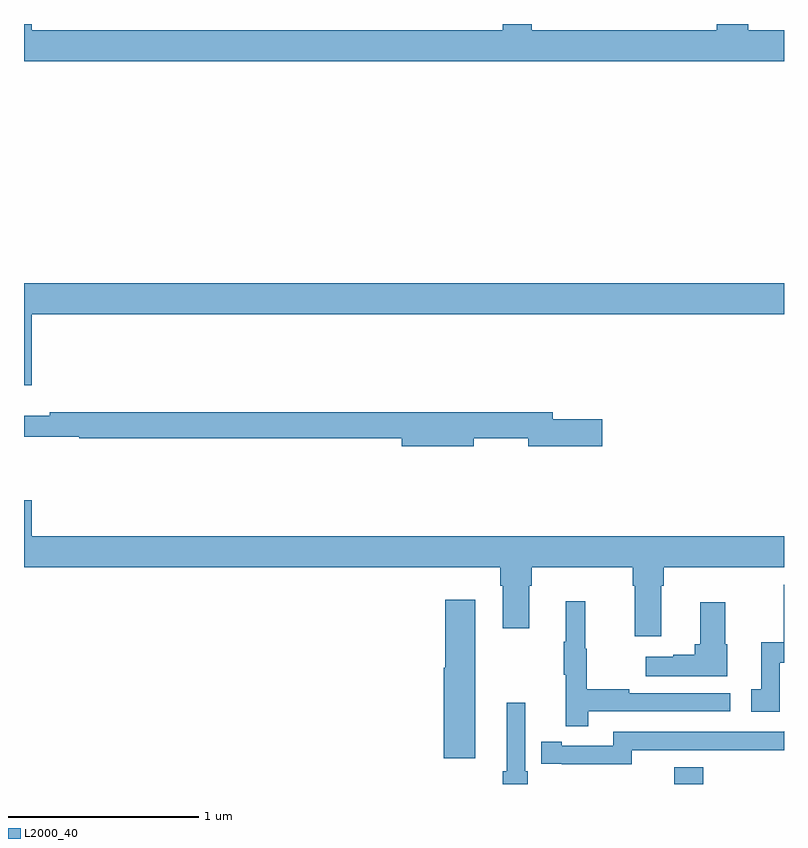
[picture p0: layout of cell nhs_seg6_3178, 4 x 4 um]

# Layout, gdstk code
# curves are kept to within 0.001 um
import gdstk
lib = gdstk.Library(unit=1e-6, precision=1e-09)
def R(c, l, rs):  # rectangles x0, y0, x1, y1
    for r in rs: c.add(gdstk.rectangle(r[:2], r[2:], *l))
def P(c, l, *ps):  # polygons
    for p in ps: c.add(gdstk.Polygon(p, *l))
L2000_40 = (2000, 40)

nhs_seg6_3178 = lib.new_cell('nhs_seg6_3178')
R(nhs_seg6_3178, L2000_40, [(300.422,975.5,300.575,975.589)])
P(nhs_seg6_3178, L2000_40, [(301,979.468),(300.812,979.468),(300.812,979.5),(300.647,979.5),(300.647,979.468),(299.672,979.468),(299.672,979.5),(299.519,979.5),(299.519,979.468),(297.04,979.468),(297.04,979.5),(297,979.5),(297,979.304),(301,979.304)],
  [(297.04,977.972),(301,977.972),(301,978.136),(297,978.136),(297,977.598),(297.04,977.598)],
  [(299.368,977.32),(299.654,977.32),(299.654,977.278),(300.043,977.278),(300.043,977.42),(299.782,977.42),(299.782,977.456),(297.136,977.456),(297.136,977.437),(297,977.437),(297,977.328),(297.292,977.328),(297.292,977.32),(298.988,977.32),(298.988,977.278),(299.368,977.278)],
  [(300.355,976.544),(300.368,976.544),(300.368,976.64),(301,976.64),(301,976.804),(297.04,976.804),(297.04,976.993),(297,976.993),(297,976.64),(299.507,976.64),(299.507,976.544),(299.519,976.544),(299.519,976.32),(299.659,976.32),(299.659,976.544),(299.672,976.544),(299.672,976.64),(300.203,976.64),(300.203,976.544),(300.215,976.544),(300.215,976.278),(300.355,976.278)],
  [(300.978,976.137),(301,976.137),(301,976.548),(300.999,976.548),(300.999,976.246),(300.881,976.246),(300.881,975.999),(300.828,975.999),(300.828,975.879),(300.978,975.879)],
  [(299.374,976.471),(299.216,976.471),(299.216,976.113),(299.21,976.113),(299.21,975.636),(299.374,975.636)],
  [(299.969,975.882),(300.718,975.882),(300.718,975.978),(300.185,975.978),(300.185,975.998),(299.962,975.998),(299.962,976.212),(299.954,976.212),(299.954,976.462),(299.852,976.462),(299.852,976.249),(299.841,976.249),(299.841,976.075),(299.852,976.075),(299.852,975.804),(299.969,975.804)],
  [(300.7,976.236),(300.69,976.236),(300.69,976.456),(300.56,976.456),(300.56,976.236),(300.53,976.236),(300.53,976.181),(300.416,976.181),(300.416,976.171),(300.273,976.171),(300.273,976.067),(300.7,976.067)],
  [(299.651,975.568),(299.637,975.568),(299.637,975.928),(299.54,975.928),(299.54,975.568),(299.521,975.568),(299.521,975.5),(299.651,975.5)],
  [(300.198,975.678),(301,975.677),(301,975.778),(300.996,975.774),(300.102,975.774),(300.102,975.702),(299.83,975.702),(299.83,975.722),(299.722,975.722),(299.722,975.606),(300.198,975.605)])

lib.write_gds('nhs_seg6_3178.gds')
